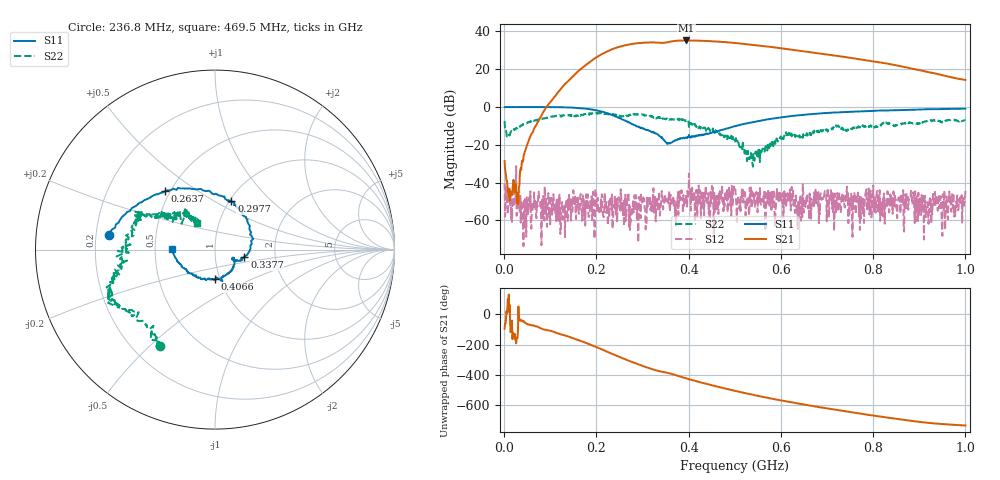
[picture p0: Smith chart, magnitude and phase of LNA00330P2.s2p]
! Created with skrf 1.9.0 (http://scikit-rf.org).
# Hz S RI R 50.0
!freq ReS11 ImS11 ReS21 ImS21 ReS12 ImS12 ReS22 ImS22
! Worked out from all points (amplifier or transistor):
!   1001 points, 1 MHz to 1 GHz, reference 50 ohm
!   highest |S21| = 35.2 dB at 394.6 MHz (marker M1)
!   |S21| within 3 dB of that: 255.2 MHz to 563.2 MHz (308 MHz wide, 75.3 % of centre)
!   unconditionally stable (mu >= 1): start of sweep to 74.4 MHz; 211.9 MHz to 400.2 MHz; 401.1 MHz to end of sweep (the widest 3 of 31)
!   at 166.8 MHz: K = 1.01, MAG = 32.8 dB, |S12| = -46.6 dB
!   at 500.5 MHz: K = 1.49, MAG = 34.6 dB, |S12| = -43.6 dB
!   at 1 GHz: K = 2.04, MAG = 23.4 dB, |S12| = -44.0 dB
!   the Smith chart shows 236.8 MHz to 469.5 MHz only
!   S11 on the Smith chart (normalised r, x): 236.8 MHz: 0.25, +0.07; 263.7 MHz: 0.47, +0.38; 297.7 MHz: 1.02, +0.60; 337.7 MHz: 1.39, -0.11; 406.6 MHz: 0.95, -0.32; 469.5 MHz: 0.61, +0.00
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1000000  0.9827 0.00385  -0.00365 -0.037  -0.00913 0.00301  0.2999 0.3033
1.08892e8  0.5124 -0.8525  -0.8781 -1.623  -0.000927 0.00162  0.4268 -0.3639
1.67833e8  -0.25 -0.8917  -10.56 -0.3786  0.000483 -0.00321  0.0319 -0.6292
2.06794e8  -0.6635 -0.4122  -16.29 16.46  -0.00164 9.44e-05  -0.1757 -0.6585
2.36764e8  -0.5917 0.0839  -3.448 34.57  -0.000636 0.00121  -0.3063 -0.5382
2.63737e8  -0.2771 0.326  20.58 37.95  -0.000981 5.2e-05  -0.4595 -0.3696
2.97703e8  0.0916 0.2688  45.78 19.08  -0.00376 0.0018  -0.596 -0.2447
3.16684e8  0.1924 0.1221  50.99 2.68  -0.00183 0.00107  -0.5632 -0.1316
3.34666e8  0.1798 -0.029  48.9 -11.8  0.00196 0.00141  -0.5289 -0.0535
3.37663e8  0.1643 -0.0397  48.08 -13.6  -0.000689 -0.00114  -0.5124 -0.0212
3.67633e8  0.1091 -0.0599  44.37 -33.27  -0.00123 0.00215  -0.437 0.1522
3.94606e8  0.0537 -0.1476  27.33 -50.79  0.000816 0.0049  -0.4005 0.1952
4.06594e8  0.00168 -0.1633  17.68 -54.66  0.000143 0.00437  -0.3 0.189
4.36564e8  -0.1443 -0.1305  -6.341 -55.72  0.00437 0.00527  -0.1945 0.1893
4.69531e8  -0.2419 0.0021  -27.84 -45.09  0.00412 -0.00262  -0.0986 0.1477
5.005e8  -0.265 0.1659  -40.11 -29.24  0.00131 0.00648  -0.0516 0.1103
5.36464e8  -0.1852 0.3462  -43.36 -9.238  0.00209 -0.000228  -0.0407 0.018
5.84416e8  0.0305 0.5017  -36.38 11.46  0.00335 -0.00472  -0.1087 -0.062
6.67333e8  0.4315 0.4872  -12.61 24.59  0.00162 -0.00264  -0.2062 -0.062
7.53247e8  0.7038 0.2583  4.904 19.1  0.000168 -0.00402  -0.2713 -0.0151
8.34166e8  0.8121 -0.0157  10.67 8.746  -0.00132 -0.000941  -0.361 -0.00433
1e9  0.7155 -0.5564  5.102 -0.9886  -0.00617 0.00114  -0.3107 0.3033
